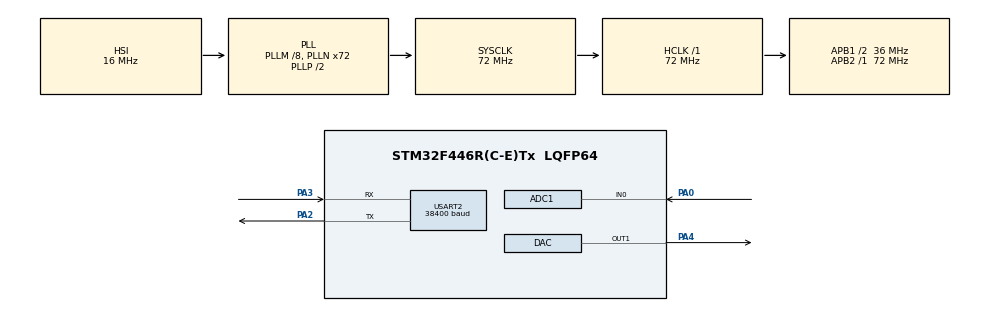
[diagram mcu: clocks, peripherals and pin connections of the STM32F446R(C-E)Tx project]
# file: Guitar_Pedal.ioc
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ADC1.Channel-0\#ChannelRegularConversion=ADC_CHANNEL_0
ADC1.ContinuousConvMode=DISABLE
ADC1.DMAContinuousRequests=ENABLE
ADC1.ExternalTrigConv=ADC_EXTERNALTRIGCONV_T2_TRGO
ADC1.InjNumberOfConversion=0
ADC1.NbrOfConversion=1
ADC1.NbrOfConversionFlag=1
ADC1.Rank-0\#ChannelRegularConversion=1
ADC1.SamplingTime-0\#ChannelRegularConversion=ADC_SAMPLETIME_3CYCLES
ADC1.master=1
DAC.DAC_Trigger=DAC_TRIGGER_T2_TRGO
Dma.ADC1.0.Direction=DMA_PERIPH_TO_MEMORY
Dma.ADC1.0.FIFOMode=DMA_FIFOMODE_ENABLE
Dma.ADC1.0.FIFOThreshold=DMA_FIFO_THRESHOLD_FULL
Dma.ADC1.0.Instance=DMA2_Stream0
Dma.ADC1.0.MemBurst=DMA_MBURST_SINGLE
Dma.ADC1.0.MemDataAlignment=DMA_MDATAALIGN_HALFWORD
Dma.ADC1.0.MemInc=DMA_MINC_ENABLE
Dma.ADC1.0.Mode=DMA_CIRCULAR
Dma.ADC1.0.PeriphBurst=DMA_PBURST_SINGLE
Dma.ADC1.0.PeriphDataAlignment=DMA_PDATAALIGN_HALFWORD
Dma.ADC1.0.PeriphInc=DMA_PINC_DISABLE
Dma.ADC1.0.Priority=DMA_PRIORITY_LOW
Dma.DAC1.1.Direction=DMA_MEMORY_TO_PERIPH
Dma.DAC1.1.FIFOMode=DMA_FIFOMODE_ENABLE
Dma.DAC1.1.FIFOThreshold=DMA_FIFO_THRESHOLD_FULL
Dma.DAC1.1.Instance=DMA1_Stream5
Dma.DAC1.1.MemBurst=DMA_MBURST_SINGLE
Dma.DAC1.1.MemDataAlignment=DMA_MDATAALIGN_HALFWORD
Dma.DAC1.1.MemInc=DMA_MINC_ENABLE
Dma.DAC1.1.Mode=DMA_CIRCULAR
Dma.DAC1.1.PeriphBurst=DMA_PBURST_SINGLE
Dma.DAC1.1.PeriphDataAlignment=DMA_PDATAALIGN_HALFWORD
Dma.DAC1.1.PeriphInc=DMA_PINC_DISABLE
Dma.DAC1.1.Priority=DMA_PRIORITY_LOW
Dma.Request0=ADC1
Dma.Request1=DAC1
Mcu.Family=STM32F4
Mcu.Name=STM32F446R(C-E)Tx
Mcu.Package=LQFP64
NVIC.DMA1_Stream5_IRQn=true\:0\:0\:false\:false\:true\:false\:true\:true
NVIC.DMA2_Stream0_IRQn=true\:0\:0\:false\:false\:true\:false\:true\:true
NVIC.PriorityGroup=NVIC_PRIORITYGROUP_4
NVIC.TIM1_UP_TIM10_IRQn=true\:15\:0\:false\:false\:true\:false\:true\:true
NVIC.TimeBase=TIM1_UP_TIM10_IRQn
NVIC.TimeBaseIP=TIM1
PA0-WKUP.Signal=ADCx_IN0
PA2.Mode=Asynchronous
PA2.Signal=USART2_TX
PA3.Mode=Asynchronous
PA3.Signal=USART2_RX
PA4.Signal=COMP_DAC1_group
ProjectManager.HeapSize=0x200
ProjectManager.StackSize=0x400
ProjectManager.TargetToolchain=STM32CubeIDE
RCC.AHBFreq_Value=72000000
RCC.APB1CLKDivider=RCC_HCLK_DIV2
RCC.APB1Freq_Value=36000000
RCC.APB1TimFreq_Value=72000000
RCC.APB2Freq_Value=72000000
RCC.APB2TimFreq_Value=72000000
RCC.CortexFreq_Value=72000000
RCC.HCLKFreq_Value=72000000
RCC.PLLM=8
RCC.PLLN=72
RCC.SYSCLKFreq_VALUE=72000000
RCC.SYSCLKSource=RCC_SYSCLKSOURCE_PLLCLK
RCC.USBFreq_Value=72000000
RCC.VCOOutputFreq_Value=144000000
SH.ADCx_IN0.0=ADC1_IN0,IN0
SH.COMP_DAC1_group.0=DAC_OUT1,DAC_OUT1
TIM2.AutoReloadPreload=TIM_AUTORELOAD_PRELOAD_ENABLE
TIM2.Period=749
TIM2.Prescaler=0
TIM2.TIM_MasterOutputTrigger=TIM_TRGO_UPDATE
USART2.BaudRate=38400
USART2.VirtualMode=VM_ASYNC
VP_SYS_VS_tim1.Mode=TIM1
VP_TIM2_VS_ClockSourceINT.Mode=Internal
board=custom

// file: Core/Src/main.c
/* USER CODE BEGIN Header */
/**
 ******************************************************************************
 * @file           : main.c
 * @brief          : Main program body
 ******************************************************************************
 * @attention
 *
 * Copyright (c) 2025 STMicroelectronics.
 * All rights reserved.
 *
 * This software is licensed under terms that can be found in the LICENSE file
 * in the root directory of this software component.
 * If no LICENSE file comes with this software, it is provided AS-IS.
 *
 ******************************************************************************
 */
/* USER CODE END Header */
#include "main.h"

/* USER CODE BEGIN Includes */

#include "PCM1802.h"
#include "dsp.h"

// #define ADC_BUF_LEN 16384
// #define HALF_BUF_LEN 8192

static uint16_t adc_buf[ADC_BUF_LEN];
static uint16_t dac_buf[ADC_BUF_LEN];

static float processing_buf[HALF_BUF_LEN];

// flags
uint8_t process_first_half = 0;
uint8_t process_second_half = 0;

/* USER CODE END Includes */

ADC_HandleTypeDef hadc1;
DMA_HandleTypeDef hdma_adc1;

DAC_HandleTypeDef hdac;
DMA_HandleTypeDef hdma_dac1;

TIM_HandleTypeDef htim2;

UART_HandleTypeDef huart2;

void SystemClock_Config(void);
static void MX_GPIO_Init(void);
static void MX_DMA_Init(void);
static void MX_ADC1_Init(void);
static void MX_USART2_UART_Init(void);
static void MX_TIM2_Init(void);
static void MX_DAC_Init(void);

/* USER CODE BEGIN 0 */

void myprintf(const char *fmt, ...)
{

  //	osStatus res = osMutexWait(USART_lockHandle, 1000);

  //	if(res == osOK){

  static char buffer[256];
  va_list args;
  va_start(args, fmt);
  vsnprintf(buffer, sizeof(buffer), fmt, args);
  va_end(args);

  int len = strlen(buffer);
  HAL_UART_Transmit(&huart2, (uint8_t *)buffer, len, -1);
}

//	osMutexRelease(USART_lockHandle);

/* USER CODE END 0 */

int main(void)
{

  /* MCU Configuration--------------------------------------------------------*/

  /* Reset of all peripherals, Initializes the Flash interface and the Systick. */
  HAL_Init();

  /* Configure the system clock */
  SystemClock_Config();

  /* Initialize all configured peripherals */
  MX_GPIO_Init();
  MX_DMA_Init();
  MX_ADC1_Init();
  MX_USART2_UART_Init();
  MX_TIM2_Init();
  MX_DAC_Init();
  /* USER CODE BEGIN 2 */
  uint32_t i;
  uint8_t dac = 0;

  myprintf("Start of start adc\n");

  // begins filling of ADC buffer
  HAL_TIM_Base_Start(&htim2);
  HAL_ADC_Start_DMA(&hadc1, (uint32_t *)adc_buf, ADC_BUF_LEN);

//  filter *lowpass_test = malloc(sizeof(filter));
//  filter *highpass_test = malloc(sizeof(filter));
//  filter *bandstop_test = malloc(sizeof(filter));
//  create_filter(lowpass_test, LOW_PASS_FILTER, 2, 1, 80);
////  create_filter(highpass_test, HIGH_PASS_FILTER, 2, 1, 200);
//  create_filter(bandstop_test, BAND_STOP_FILTER, 2, .7, 60);

  delay* delay;
  delay = malloc(sizeof(delay));
  create_delay(delay, 50);

  /* USER CODE END 2 */

  /* Infinite loop */
  while (1)
  {

    /* USER CODE BEGIN 3 */

    /*
     *
     * ADC buffer triggers at every half so first half can be processed while second half is being filled
     *
     * DAC buffer only begins once it is fully filled after the adc runs one full cycle
     *
     */

    // triggers when adc buff is half full
    if (process_first_half == 1)
    {

    //prepare data for dsp

      normalize_adc(processing_buf, adc_buf, HALF_BUF_LEN); //shift from 0-->4096 to -1 to 1

      process_delay(processing_buf, delay, .5);

      prepare_for_dac(&dac_buf, processing_buf, HALF_BUF_LEN);
//
//      //copy data into dac buffer
//      memcpy(&dac_buf, processing_buf, HALF_BUF_LEN * sizeof(uint16_t));

      process_first_half = 0;
    }
    // triggers once the second half is filled
    if (process_second_half == 1)
    {

//      dc_block(&adc_buf[HALF_BUF_LEN], HALF_BUF_LEN);
      normalize_adc(processing_buf, &adc_buf[HALF_BUF_LEN], HALF_BUF_LEN); //shift to -1 --> 1
//

      process_delay(processing_buf, delay, .5);

      //shifts back to
      prepare_for_dac(&dac_buf[HALF_BUF_LEN], processing_buf, HALF_BUF_LEN);

//      //copy data into dac buffer
//      memcpy(&dac_buf[HALF_BUF_LEN], processing_buf, HALF_BUF_LEN * sizeof(uint16_t));

      if (dac == 0)
      {
        HAL_DAC_Start_DMA(&hdac, DAC_CHANNEL_1, (uint32_t *)dac_buf, ADC_BUF_LEN, DAC_ALIGN_12B_R);
        dac = 1;
      }

      process_second_half = 0;
    }
  }

  /* USER CODE END 3 */
}

void SystemClock_Config(void)
{
  RCC_OscInitTypeDef RCC_OscInitStruct = {0};
  RCC_ClkInitTypeDef RCC_ClkInitStruct = {0};

  /** Configure the main internal regulator output voltage
   */
  __HAL_RCC_PWR_CLK_ENABLE();
  __HAL_PWR_VOLTAGESCALING_CONFIG(PWR_REGULATOR_VOLTAGE_SCALE3);

  /** Initializes the RCC Oscillators according to the specified parameters
   * in the RCC_OscInitTypeDef structure.
   */
  RCC_OscInitStruct.OscillatorType = RCC_OSCILLATORTYPE_HSI;
  RCC_OscInitStruct.HSIState = RCC_HSI_ON;
  RCC_OscInitStruct.HSICalibrationValue = RCC_HSICALIBRATION_DEFAULT;
  RCC_OscInitStruct.PLL.PLLState = RCC_PLL_ON;
  RCC_OscInitStruct.PLL.PLLSource = RCC_PLLSOURCE_HSI;
  RCC_OscInitStruct.PLL.PLLM = 8;
  RCC_OscInitStruct.PLL.PLLN = 72;
  RCC_OscInitStruct.PLL.PLLP = RCC_PLLP_DIV2;
  RCC_OscInitStruct.PLL.PLLQ = 2;
  RCC_OscInitStruct.PLL.PLLR = 2;
  if (HAL_RCC_OscConfig(&RCC_OscInitStruct) != HAL_OK)
  {
    Error_Handler();
  }

  /** Initializes the CPU, AHB and APB buses clocks
   */
  RCC_ClkInitStruct.ClockType = RCC_CLOCKTYPE_HCLK | RCC_CLOCKTYPE_SYSCLK | RCC_CLOCKTYPE_PCLK1 | RCC_CLOCKTYPE_PCLK2;
  RCC_ClkInitStruct.SYSCLKSource = RCC_SYSCLKSOURCE_PLLCLK;
  RCC_ClkInitStruct.AHBCLKDivider = RCC_SYSCLK_DIV1;
  RCC_ClkInitStruct.APB1CLKDivider = RCC_HCLK_DIV2;
  RCC_ClkInitStruct.APB2CLKDivider = RCC_HCLK_DIV1;

  if (HAL_RCC_ClockConfig(&RCC_ClkInitStruct, FLASH_LATENCY_2) != HAL_OK)
  {
    Error_Handler();
  }
}

static void MX_ADC1_Init(void)
{

  ADC_ChannelConfTypeDef sConfig = {0};

  /** Configure the global features of the ADC (Clock, Resolution, Data Alignment and number of conversion)
   */
  hadc1.Instance = ADC1;
  hadc1.Init.ClockPrescaler = ADC_CLOCK_SYNC_PCLK_DIV2;
  hadc1.Init.Resolution = ADC_RESOLUTION_12B;
  hadc1.Init.ScanConvMode = DISABLE;
  hadc1.Init.ContinuousConvMode = DISABLE;
  hadc1.Init.DiscontinuousConvMode = DISABLE;
  hadc1.Init.ExternalTrigConvEdge = ADC_EXTERNALTRIGCONVEDGE_RISING;
  hadc1.Init.ExternalTrigConv = ADC_EXTERNALTRIGCONV_T2_TRGO;
  hadc1.Init.DataAlign = ADC_DATAALIGN_RIGHT;
  hadc1.Init.NbrOfConversion = 1;
  hadc1.Init.DMAContinuousRequests = ENABLE;
  hadc1.Init.EOCSelection = ADC_EOC_SINGLE_CONV;
  if (HAL_ADC_Init(&hadc1) != HAL_OK)
  {
    Error_Handler();
  }

  /** Configure for the selected ADC regular channel its corresponding rank in the sequencer and its sample time.
   */
  sConfig.Channel = ADC_CHANNEL_0;
  sConfig.Rank = 1;
  sConfig.SamplingTime = ADC_SAMPLETIME_3CYCLES;
  if (HAL_ADC_ConfigChannel(&hadc1, &sConfig) != HAL_OK)
  {
    Error_Handler();
  }
}

static void MX_DAC_Init(void)
{

  DAC_ChannelConfTypeDef sConfig = {0};

  /** DAC Initialization
   */
  hdac.Instance = DAC;
  if (HAL_DAC_Init(&hdac) != HAL_OK)
  {
    Error_Handler();
  }

  /** DAC channel OUT1 config
   */
  sConfig.DAC_Trigger = DAC_TRIGGER_T2_TRGO;
  sConfig.DAC_OutputBuffer = DAC_OUTPUTBUFFER_ENABLE;
  if (HAL_DAC_ConfigChannel(&hdac, &sConfig, DAC_CHANNEL_1) != HAL_OK)
  {
    Error_Handler();
  }
}

static void MX_TIM2_Init(void)
{

  TIM_ClockConfigTypeDef sClockSourceConfig = {0};
  TIM_MasterConfigTypeDef sMasterConfig = {0};

  htim2.Instance = TIM2;
  htim2.Init.Prescaler = 0;
  htim2.Init.CounterMode = TIM_COUNTERMODE_UP;
  htim2.Init.Period = 749;
  htim2.Init.ClockDivision = TIM_CLOCKDIVISION_DIV1;
  htim2.Init.AutoReloadPreload = TIM_AUTORELOAD_PRELOAD_ENABLE;
  if (HAL_TIM_Base_Init(&htim2) != HAL_OK)
  {
    Error_Handler();
  }
  sClockSourceConfig.ClockSource = TIM_CLOCKSOURCE_INTERNAL;
  if (HAL_TIM_ConfigClockSource(&htim2, &sClockSourceConfig) != HAL_OK)
  {
    Error_Handler();
  }
  sMasterConfig.MasterOutputTrigger = TIM_TRGO_UPDATE;
  sMasterConfig.MasterSlaveMode = TIM_MASTERSLAVEMODE_DISABLE;
  if (HAL_TIMEx_MasterConfigSynchronization(&htim2, &sMasterConfig) != HAL_OK)
  {
    Error_Handler();
  }
}

static void MX_USART2_UART_Init(void)
{

  huart2.Instance = USART2;
  huart2.Init.BaudRate = 38400;
  huart2.Init.WordLength = UART_WORDLENGTH_8B;
  huart2.Init.StopBits = UART_STOPBITS_1;
  huart2.Init.Parity = UART_PARITY_NONE;
  huart2.Init.Mode = UART_MODE_TX_RX;
  huart2.Init.HwFlowCtl = UART_HWCONTROL_NONE;
  huart2.Init.OverSampling = UART_OVERSAMPLING_16;
  if (HAL_UART_Init(&huart2) != HAL_OK)
  {
    Error_Handler();
  }
}

static void MX_DMA_Init(void)
{

  /* DMA controller clock enable */
  __HAL_RCC_DMA2_CLK_ENABLE();
  __HAL_RCC_DMA1_CLK_ENABLE();

  /* DMA interrupt init */
  /* DMA1_Stream5_IRQn interrupt configuration */
  HAL_NVIC_SetPriority(DMA1_Stream5_IRQn, 0, 0);
  HAL_NVIC_EnableIRQ(DMA1_Stream5_IRQn);
  /* DMA2_Stream0_IRQn interrupt configuration */
  HAL_NVIC_SetPriority(DMA2_Stream0_IRQn, 0, 0);
  HAL_NVIC_EnableIRQ(DMA2_Stream0_IRQn);
}

static void MX_GPIO_Init(void)
{

  /* GPIO Ports Clock Enable */
  __HAL_RCC_GPIOA_CLK_ENABLE();

}

void HAL_TIM_PeriodElapsedCallback(TIM_HandleTypeDef *htim)
{
  if (htim->Instance == TIM1)
  {
    HAL_IncTick();
  }
}

void Error_Handler(void)
{
  __disable_irq();
  while (1)
  {
  }
}
